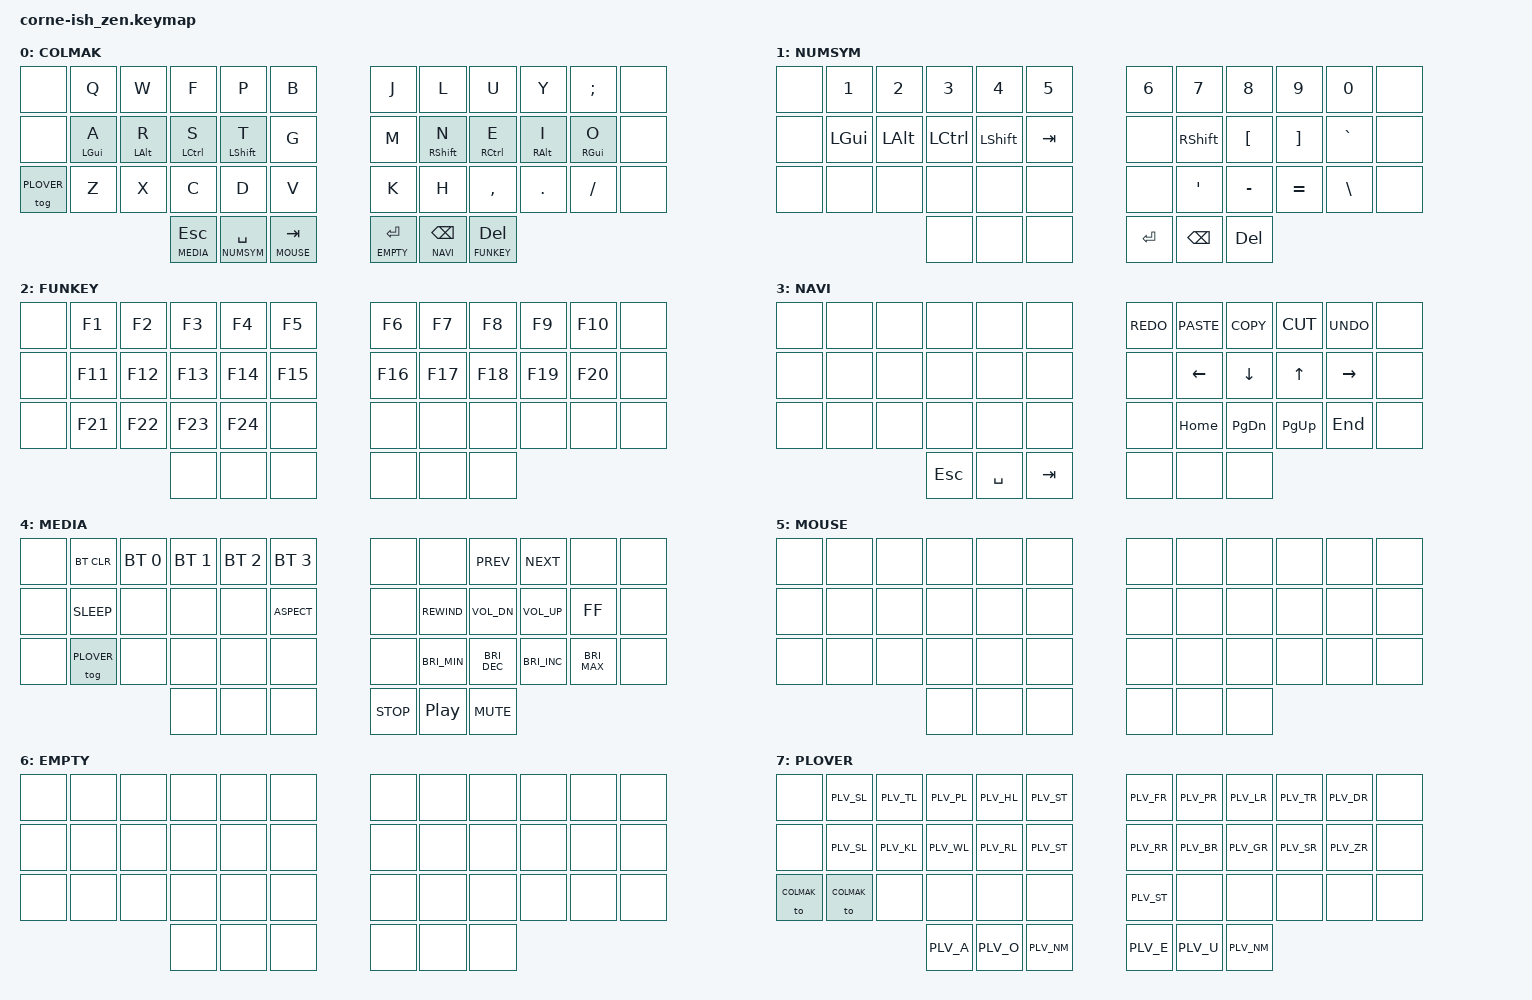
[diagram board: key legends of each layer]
/*
*
* Copyright (c) 2021 lowprokb.ca
* SPDX-License-Identifier: MIT
*
*/

#include <behaviors.dtsi>
#include <dt-bindings/zmk/keys.h>
#include <dt-bindings/zmk/bt.h>

#define COLMAK 0
#define NUMSYM 1
#define FUNKEY 2
#define NAVI   3
#define MEDIA  4
#define MOUSE  5
#define EMPTY  6
#define PLOVER 7

/ {
    behaviors {
        hm: homerow_mods {
            compatible = "zmk,behavior-hold-tap";
            label = "HOMEROW_MODS";
            #binding-cells = <2>;
            tapping-term-ms = <200>;
            quick_tap_ms = <0>;
            flavor = "tap-preferred";
            bindings = <&kp>, <&kp>;
        };
    };
    keymap {
        compatible = "zmk,keymap";

        default_layer {
            label = "COLMAK";
            bindings = <
   &none       &kp      Q &kp      W &kp       F    &kp        P    &kp B              &kp J          &kp        L    &kp       U &kp      Y &kp   SEMI  &none
   &none       &hm LGUI A &hm LALT R &hm LCTRL S    &hm LSHIFT T    &kp G              &kp M          &hm RSHIFT N    &hm RCTRL E &hm RALT I &hm RGUI O  &none
   &tog PLOVER &kp      Z &kp      X &kp       C    &kp        D    &kp V              &kp K          &kp        H    &kp    CMMA &kp    DOT &kp   FSLH  &none
                                     &lt MEDIA ESC  &lt NUMSYM SPC  &lt MOUSE TAB      &lt EMPTY RET  &lt NAVI  BSPC  &lt FUNKEY DEL
            >;
        };

        numsym_layer {
            label = "NUMSYM";
            bindings = <
   &none      &kp   N1 &kp   N2 &kp    N3 &kp     N4 &kp N5       &kp N6   &kp N7     &kp N8    &kp N9    &kp N0    &none
   &none      &kp LGUI &kp LALT &kp LCTRL &kp LSHIFT &kp TAB      &none    &kp RSHIFT &kp LBKT  &kp RBKT  &kp GRAVE &none
   &none      &none    &none    &none     &none      &none        &none    &kp SQT    &kp MINUS &kp EQUAL &kp BSLH  &none
                                &none     &none      &none        &kp RET  &kp BSPC   &kp DEL
            >;
        };

        function_layer {
            label = "FUNKEY";
            bindings = <
   &none  &kp F1  &kp F2  &kp F3  &kp F4  &kp F5        &kp F6  &kp F7  &kp F8  &kp F9  &kp F10 &none
   &none  &kp F11 &kp F12 &kp F13 &kp F14 &kp F15       &kp F16 &kp F17 &kp F18 &kp F19 &kp F20 &none
   &none  &kp F21 &kp F22 &kp F23 &kp F24 &none         &none   &none   &none   &none   &none   &none
                          &none   &none   &none         &none   &none   &none
            >;
        };

        extended_layer {
            label = "NAVI";
            bindings = <
   &none  &none  &none  &none   &none   &none           &kp K_REDO &kp K_PASTE &kp K_COPY &kp K_CUT &kp K_UNDO &none
   &none  &none  &none  &none   &none   &none           &none      &kp LEFT    &kp DOWN   &kp UP    &kp RIGHT  &none
   &none  &none  &none  &none   &none   &none           &none      &kp HOME    &kp PG_DN  &kp PG_UP &kp END    &none
                        &kp ESC &kp SPC &kp TAB         &none      &none       &none
            >;
        };


        media_layer {
            label = "MEDIA";
            bindings = <
   &none  &bt BT_CLR  &bt BT_SEL 0 &bt BT_SEL 1 &bt BT_SEL 2 &bt BT_SEL 3         &none       &none         &kp C_PREV    &kp C_NEXT    &none         &none
   &none  &kp K_SLEEP &none        &none        &none        &kp C_ASPECT         &none       &kp C_REWIND  &kp C_VOL_DN  &kp C_VOL_UP  &kp C_FF      &none
   &none  &tog PLOVER &none        &none        &none        &none                &none       &kp C_BRI_MIN &kp C_BRI_DEC &kp C_BRI_INC &kp C_BRI_MAX &none
                                  &none         &none        &none                &kp C_STOP  &kp C_PLAY_PAUSE &kp C_MUTE
            >;
        };

        mouse_layer {
            label = "MOUSE";
            bindings = <
   &none  &none      &none        &none        &none        &none                &none    &none     &none     &none     &none   &none
   &none  &none      &none        &none        &none        &none                &none    &none     &none     &none     &none   &none
   &none  &none      &none        &none        &none        &none                &none    &none     &none     &none     &none   &none
                                  &none        &none        &none                &none    &none     &none
            >;
        };

        empty_layer {
            label = "EMPTY";
            bindings = <
   &none  &none      &none        &none        &none        &none                &none    &none     &none     &none     &none   &none
   &none  &none      &none        &none        &none        &none                &none    &none     &none     &none     &none   &none
   &none  &none      &none        &none        &none        &none                &none    &none     &none     &none     &none   &none
                                  &none        &none        &none                &none    &none     &none
            >;
        };

        plover_layer {
            label = "PLOVER";
            bindings = <
   &none        &kp  PLV_SL  &kp PLV_TL  &kp PLV_PL  &kp PLV_HL  &kp PLV_ST        &kp PLV_FR  &kp PLV_PR  &kp PLV_LR  &kp PLV_TR  &kp PLV_DR  &none
   &none        &kp  PLV_SL  &kp PLV_KL  &kp PLV_WL  &kp PLV_RL  &kp PLV_ST        &kp PLV_RR  &kp PLV_BR  &kp PLV_GR  &kp PLV_SR  &kp PLV_ZR  &none
   &to  COLMAK  &to  COLMAK  &none       &none       &none       &none             &kp PLV_ST  &none       &none       &none       &none       &none
                                         &kp PLV_A   &kp PLV_O   &kp PLV_NM        &kp PLV_E   &kp PLV_U   &kp PLV_NM

            >;
        };

    };
};
